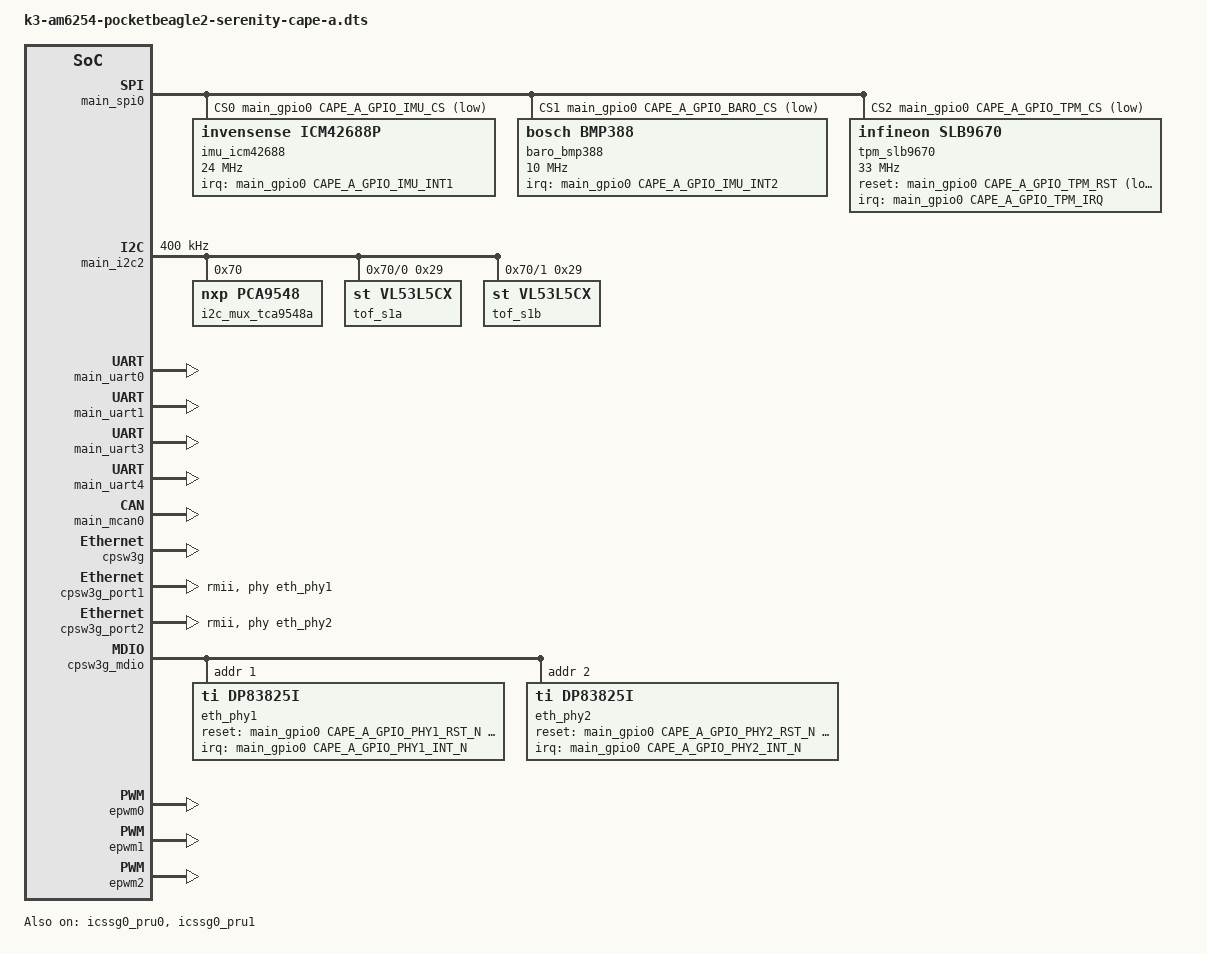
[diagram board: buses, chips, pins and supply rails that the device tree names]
// SPDX-License-Identifier: CC-BY-4.0
/*
 * k3-am6254-pocketbeagle2-serenity-cape-a.dts
 * Device tree overlay — Serenity UAV Cape-A (Sensor & Flight Control)
 *
 * Author:  Steve Griffing, PE(CSE), CISSP-ISSEP, CPP
 * License: CC BY 4.0 — creativecommons.org/licenses/by/4.0
 *
 * Target:
 *   Board  : PocketBeagle 2 Industrial (DigiKey 2820-100003007-ND)
 *   SoC    : TI AM6254 (quad Cortex-A53 @ 1.4 GHz, dual PRU-ICSS)
 *   OS     : BeagleBone Debian Trixie (Linux ≥ 6.1, dtc 1.7.x)
 *   Cape   : Cape-A — sensors + flight control, plugs onto P1/P2 headers
 *
 * Build:
 *   dtc -@ -I dts -O dtb \
 *       -o k3-am6254-pocketbeagle2-serenity-cape-a.dtbo \
 *       k3-am6254-pocketbeagle2-serenity-cape-a.dts
 *
 * Install:
 *   sudo cp *.dtbo /boot/firmware/overlays/
 *   Add "fdtoverlays /overlays/k3-am6254-pocketbeagle2-serenity-cape-a.dtbo"
 *   to /boot/firmware/extlinux/extlinux.conf
 *
 * ═══════════════════════════════════════════════════════════════════════════
 * PAD OFFSET VERIFICATION NOTICE
 * ═══════════════════════════════════════════════════════════════════════════
 * AM62X_IOPAD offsets must be cross-checked against BOTH:
 *   (1) TI AM6254 Technical Reference Manual, SPRUJ40, Table 7-1
 *       "MAIN Domain Pad Control Registers"
 *   (2) PocketBeagle 2 Industrial schematic — BeagleBoard.org hardware repo
 *       (maps AM6254 balls to P1/P2 header pins)
 * Offsets tagged [CONFIRMED] are from k3-am625-sk.dtsi, Linux 6.x kernel.
 * Offsets tagged [ESTIMATE] follow the AM62x pad-table pattern and must be
 * verified before committing to PCB fab or first-flight operations.
 * GPIO line numbers (main_gpio0 / main_gpio1) are logical and must be
 * verified against the PocketBeagle 2 expansion header pin map.
 * ═══════════════════════════════════════════════════════════════════════════
 *
 * Cape-A peripheral map:
 *   SPI0      — ICM-42688-P IMU, BMP388 barometer, SLB9670 TPM 2.0
 *   I2C2      — TCA9548A 8-ch mux → 2× VL53L5CX ToF (array A), MS4525DO
 *   UART0     — Debug console (JST-GH 4-pin)
 *   UART1     — ESC UART telemetry input (BLHeli32/Hobbywing)
 *   UART3     — u-blox M10Q GNSS (38400 baud default)
 *   UART4     — RS-485 half-duplex via MAX3485E (DE/RE# GPIOs)
 *   MCAN0     — CAN FD 1/8 Mbps via ATA6561 transceiver (STB# GPIO)
 *   CPSW3G    — 100BASE-TX ring via 2× DP83825I RMII PHY
 *   EHRPWM0-5 — Servo/ESC PWM (6 channels hardware, 50/400 Hz)
 *   PRU-ICSS0/PRU0 — MIL-STD-1553B Manchester II codec (1 Mbps)
 *   PRU-ICSS0/PRU1 — Extended servo PWM channels 6-7 (deterministic)
 */

/dts-v1/;
/plugin/;

#include <dt-bindings/gpio/gpio.h>
#include <dt-bindings/interrupt-controller/irq.h>
#include <dt-bindings/pinctrl/k3.h>
#include <dt-bindings/net/ti-dp83867.h>

/* ───────────────────────────────────────────────────────────────────────────
 * GPIO line assignments on main_gpio0 — VERIFY AGAINST PB2 SCHEMATIC
 * Line numbers correspond to AM6254 GPIO bank 0 pins exposed on P1/P2.
 * ─────────────────────────────────────────────────────────────────────────*/
#define CAPE_A_GPIO_IMU_INT1        14  /* ICM-42688-P interrupt 1      [ESTIMATE] */
#define CAPE_A_GPIO_IMU_INT2        15  /* ICM-42688-P interrupt 2      [ESTIMATE] */
#define CAPE_A_GPIO_IMU_CS          16  /* SPI0 CS — ICM-42688-P        [ESTIMATE] */
#define CAPE_A_GPIO_BARO_CS         17  /* SPI0 CS — BMP388             [ESTIMATE] */
#define CAPE_A_GPIO_TPM_CS          18  /* SPI0 CS — SLB9670 TPM        [ESTIMATE] */
#define CAPE_A_GPIO_TPM_IRQ         19  /* SLB9670 IRQ (active-low)     [ESTIMATE] */
#define CAPE_A_GPIO_TPM_RST         20  /* SLB9670 reset (active-low)   [ESTIMATE] */
#define CAPE_A_GPIO_GPS_RST         21  /* u-blox M10Q RESETN           [ESTIMATE] */
#define CAPE_A_GPIO_GPS_TIMEPULSE   22  /* u-blox M10Q TIMEPULSE        [ESTIMATE] */
#define CAPE_A_GPIO_RS485_DE        23  /* MAX3485E driver enable        [ESTIMATE] */
#define CAPE_A_GPIO_RS485_RE_N      24  /* MAX3485E receiver enable#     [ESTIMATE] */
#define CAPE_A_GPIO_CAN_STB_N       25  /* ATA6561 standby (active-low) [ESTIMATE] */
#define CAPE_A_GPIO_PHY1_RST_N      26  /* DP83825I #1 reset            [ESTIMATE] */
#define CAPE_A_GPIO_PHY1_INT_N      27  /* DP83825I #1 interrupt        [ESTIMATE] */
#define CAPE_A_GPIO_PHY2_RST_N      28  /* DP83825I #2 reset            [ESTIMATE] */
#define CAPE_A_GPIO_PHY2_INT_N      29  /* DP83825I #2 interrupt        [ESTIMATE] */
#define CAPE_A_GPIO_1553_OE1_N      30  /* DS26LV31 output enable 1#    [ESTIMATE] */
#define CAPE_A_GPIO_1553_OE2_N      31  /* DS26LV31 output enable 2#    [ESTIMATE] */

/* ───────────────────────────────────────────────────────────────────────────
 * Section 1 — Pin control configurations
 * ─────────────────────────────────────────────────────────────────────────*/
&main_pmx0 {

    /* SPI0: ICM-42688-P IMU + BMP388 barometer + SLB9670 TPM.
     * Chip selects are GPIO-controlled (cs-gpios on the SPI node) so only
     * the 4-wire bus pins appear here.                                    */
    cape_a_spi0_pins: cape-a-spi0-pins {
        pinctrl-single,pins = <
            /* [CONFIRMED — k3-am625-sk.dtsi] */
            AM62X_IOPAD(0x01bc, PIN_INPUT,  0) /* (A13) SPI0_CLK              */
            AM62X_IOPAD(0x01c0, PIN_OUTPUT, 0) /* (B13) SPI0_D0   (MOSI)      */
            AM62X_IOPAD(0x01c4, PIN_INPUT,  0) /* (B12) SPI0_D1   (MISO)      */
        >;
    };

    /* I2C2: TCA9548A mux + downstream VL53L5CX ToF + MS4525DO airspeed.  */
    cape_a_i2c2_pins: cape-a-i2c2-pins {
        pinctrl-single,pins = <
            /* [ESTIMATE — GPMC0_CSn2/CSn3 pads in mux1] */
            AM62X_IOPAD(0x00b0, PIN_INPUT_PULLUP, 1) /* (K22) I2C2_SCL          */
            AM62X_IOPAD(0x00b4, PIN_INPUT_PULLUP, 1) /* (K24) I2C2_SDA          */
        >;
    };

    /* UART0: debug console.                                               */
    cape_a_uart0_pins: cape-a-uart0-pins {
        pinctrl-single,pins = <
            /* [CONFIRMED — k3-am625-sk.dtsi, SPI0_CS0/CS1 pads mux1]    */
            AM62X_IOPAD(0x01c8, PIN_INPUT,  1) /* (D14) UART0_RXD             */
            AM62X_IOPAD(0x01cc, PIN_OUTPUT, 1) /* (E14) UART0_TXD             */
        >;
    };

    /* UART1: ESC UART telemetry (BLHeli32 / Hobbywing one-wire or 2-wire).*/
    cape_a_uart1_pins: cape-a-uart1-pins {
        pinctrl-single,pins = <
            /* [CONFIRMED — MCASP0_AFSR/ACLKR pads mux2]                  */
            AM62X_IOPAD(0x01ac, PIN_INPUT,  2) /* (E19) UART1_RXD             */
            AM62X_IOPAD(0x01b0, PIN_OUTPUT, 2) /* (A20) UART1_TXD             */
        >;
    };

    /* UART3: u-blox M10Q GNSS, 38400 baud default (upgradeable to 460800).*/
    cape_a_uart3_pins: cape-a-uart3-pins {
        pinctrl-single,pins = <
            /* [ESTIMATE — GPMC0_AD area, mux4] */
            AM62X_IOPAD(0x0048, PIN_INPUT,  4) /* UART3_RXD                   */
            AM62X_IOPAD(0x004c, PIN_OUTPUT, 4) /* UART3_TXD                   */
        >;
    };

    /* UART4: RS-485 (MAX3485E). Direction controlled by DE/RE# GPIOs.    */
    cape_a_uart4_pins: cape-a-uart4-pins {
        pinctrl-single,pins = <
            /* [ESTIMATE — GPMC0_AD area, mux4] */
            AM62X_IOPAD(0x0058, PIN_INPUT,  4) /* UART4_RXD                   */
            AM62X_IOPAD(0x005c, PIN_OUTPUT, 4) /* UART4_TXD                   */
        >;
    };

    /* MCAN0: CAN FD via ATA6561 transceiver.                             */
    cape_a_mcan0_pins: cape-a-mcan0-pins {
        pinctrl-single,pins = <
            /* [CONFIRMED — k3-am625-sk.dtsi] */
            AM62X_IOPAD(0x01d8, PIN_OUTPUT, 0) /* (C15) MCAN0_TX              */
            AM62X_IOPAD(0x01dc, PIN_INPUT,  0) /* (E15) MCAN0_RX              */
        >;
    };

    /* CPSW3G MDIO: shared MDC/MDIO bus for both DP83825I PHYs.          */
    cape_a_mdio_pins: cape-a-mdio-pins {
        pinctrl-single,pins = <
            /* [ESTIMATE — dedicated MDIO pad area] */
            AM62X_IOPAD(0x0160, PIN_OUTPUT,       0) /* MDC                    */
            AM62X_IOPAD(0x0164, PIN_INPUT_PULLUP, 0) /* MDIO                   */
        >;
    };

    /* CPSW3G Port 1 — RMII (DP83825I #1, uplink/port-side ring segment). */
    cape_a_rmii1_pins: cape-a-rmii1-pins {
        pinctrl-single,pins = <
            /* [ESTIMATE — RGMII1 pad area in RMII mux] */
            AM62X_IOPAD(0x0120, PIN_INPUT,  4) /* RMII1_RXD0                  */
            AM62X_IOPAD(0x0124, PIN_INPUT,  4) /* RMII1_RXD1                  */
            AM62X_IOPAD(0x0128, PIN_INPUT,  4) /* RMII1_RX_ER                 */
            AM62X_IOPAD(0x012c, PIN_INPUT,  4) /* RMII1_CRS_DV                */
            AM62X_IOPAD(0x0130, PIN_OUTPUT, 4) /* RMII1_TXD0                  */
            AM62X_IOPAD(0x0134, PIN_OUTPUT, 4) /* RMII1_TXD1                  */
            AM62X_IOPAD(0x0138, PIN_OUTPUT, 4) /* RMII1_TX_EN                 */
            AM62X_IOPAD(0x013c, PIN_INPUT,  4) /* RMII1_REF_CLK (50 MHz in)   */
        >;
    };

    /* CPSW3G Port 2 — RMII (DP83825I #2, starboard ring segment).       */
    cape_a_rmii2_pins: cape-a-rmii2-pins {
        pinctrl-single,pins = <
            /* [ESTIMATE — RGMII2 pad area in RMII mux] */
            AM62X_IOPAD(0x0148, PIN_INPUT,  4) /* RMII2_RXD0                  */
            AM62X_IOPAD(0x014c, PIN_INPUT,  4) /* RMII2_RXD1                  */
            AM62X_IOPAD(0x0150, PIN_INPUT,  4) /* RMII2_RX_ER                 */
            AM62X_IOPAD(0x0154, PIN_INPUT,  4) /* RMII2_CRS_DV                */
            AM62X_IOPAD(0x0158, PIN_OUTPUT, 4) /* RMII2_TXD0                  */
            AM62X_IOPAD(0x015c, PIN_OUTPUT, 4) /* RMII2_TXD1                  */
            AM62X_IOPAD(0x0168, PIN_OUTPUT, 4) /* RMII2_TX_EN                 */
            AM62X_IOPAD(0x016c, PIN_INPUT,  4) /* RMII2_REF_CLK               */
        >;
    };

    /* EHRPWM0-A / EHRPWM1-A: servo/ESC channels 0 and 1.                */
    cape_a_ehrpwm0_pins: cape-a-ehrpwm0-pins {
        pinctrl-single,pins = <
            /* [ESTIMATE] */
            AM62X_IOPAD(0x01a0, PIN_OUTPUT, 6) /* EHRPWM0_A (SERVO0)          */
            AM62X_IOPAD(0x01a4, PIN_OUTPUT, 6) /* EHRPWM0_B (SERVO1)          */
        >;
    };

    cape_a_ehrpwm1_pins: cape-a-ehrpwm1-pins {
        pinctrl-single,pins = <
            /* [ESTIMATE] */
            AM62X_IOPAD(0x01a8, PIN_OUTPUT, 6) /* EHRPWM1_A (SERVO2)          */
            AM62X_IOPAD(0x01b8, PIN_OUTPUT, 6) /* EHRPWM1_B (SERVO3)          */
        >;
    };

    cape_a_ehrpwm2_pins: cape-a-ehrpwm2-pins {
        pinctrl-single,pins = <
            /* [ESTIMATE] */
            AM62X_IOPAD(0x01b4, PIN_OUTPUT, 6) /* EHRPWM2_A (SERVO4)          */
            AM62X_IOPAD(0x01b8, PIN_OUTPUT, 6) /* EHRPWM2_B (SERVO5)          */
        >;
    };

    /* PRU-ICSS0 MIL-STD-1553 GPIO pins.
     * PRU0 drives DS26LV31 TX inputs (differential pair) and reads
     * DS26LV32 RX outputs (differential pair).
     * PRG0_PRU0_GPIOxx line numbers must match the PRU firmware.         */
    cape_a_pru0_1553_pins: cape-a-pru0-1553-pins {
        pinctrl-single,pins = <
            /* [ESTIMATE — PRG0 GPIO pad area] */
            AM62X_IOPAD(0x00d0, PIN_OUTPUT, 5) /* PRG0_PRU0_GPO0 → 1553_TX_P  */
            AM62X_IOPAD(0x00d4, PIN_OUTPUT, 5) /* PRG0_PRU0_GPO1 → 1553_TX_N  */
            AM62X_IOPAD(0x00d8, PIN_INPUT,  5) /* PRG0_PRU0_GPI2 ← 1553_RX_P  */
            AM62X_IOPAD(0x00dc, PIN_INPUT,  5) /* PRG0_PRU0_GPI3 ← 1553_RX_N  */
        >;
    };

    /* PRU-ICSS0 PRU1 extra servo PWM pins (channels 6-7).               */
    cape_a_pru1_pwm_pins: cape-a-pru1-pwm-pins {
        pinctrl-single,pins = <
            /* [ESTIMATE] */
            AM62X_IOPAD(0x00e0, PIN_OUTPUT, 5) /* PRG0_PRU1_GPO0 → SERVO6     */
            AM62X_IOPAD(0x00e4, PIN_OUTPUT, 5) /* PRG0_PRU1_GPO1 → SERVO7     */
        >;
    };
};

/* ───────────────────────────────────────────────────────────────────────────
 * Section 2 — SPI0: IMU, barometer, TPM 2.0
 * CS lines are GPIO because the AM6254 SPI0 hardware CS count may be
 * insufficient for 3 devices; this also allows individual power sequencing.
 * ─────────────────────────────────────────────────────────────────────────*/
&main_spi0 {
    status = "okay";
    pinctrl-names = "default";
    pinctrl-0 = <&cape_a_spi0_pins>;
    /* Three GPIO chip-selects; SPI controller CS pin is not used.        */
    cs-gpios = <&main_gpio0 CAPE_A_GPIO_IMU_CS  GPIO_ACTIVE_LOW>,
               <&main_gpio0 CAPE_A_GPIO_BARO_CS GPIO_ACTIVE_LOW>,
               <&main_gpio0 CAPE_A_GPIO_TPM_CS  GPIO_ACTIVE_LOW>;
    #address-cells = <1>;
    #size-cells = <0>;

    /* ICM-42688-P 6-axis IMU — InvenSense, SPI mode 0 or 3, 24 MHz max. */
    imu_icm42688: imu@0 {
        compatible = "invensense,icm42688p";
        reg = <0>;                           /* CS index 0 (IMU_CS GPIO)   */
        spi-max-frequency = <24000000>;
        spi-cpol;                            /* CPOL=1 CPHA=1 (SPI mode 3) */
        spi-cpha;
        interrupt-parent = <&main_gpio0>;
        interrupts = <CAPE_A_GPIO_IMU_INT1 IRQ_TYPE_EDGE_RISING>;
        /*
         * Mount rotation: board coordinate frame → NED body frame.
         * Fill in after physical inspection of IMU orientation on Cape-A.
         * Reference: InvenSense ICM-42688-P datasheet, rev 1.7.
         */
        mount-matrix = "1", "0", "0",
                        "0", "1", "0",
                        "0", "0", "1";
    };

    /* BMP388 barometric pressure + temperature — Bosch, SPI mode 0.      */
    baro_bmp388: barometer@1 {
        compatible = "bosch,bmp388";
        reg = <1>;                           /* CS index 1 (BARO_CS GPIO)  */
        spi-max-frequency = <10000000>;
        interrupt-parent = <&main_gpio0>;
        interrupts = <CAPE_A_GPIO_IMU_INT2 IRQ_TYPE_EDGE_RISING>;
        /* Data-ready interrupt wired to same GPIO bank as IMU INT2 —
         * re-assign if conflict during layout.                           */
    };

    /* SLB9670 TPM 2.0 — Infineon, SPI mode 0, 33 MHz max.               */
    tpm_slb9670: tpm@2 {
        compatible = "infineon,slb9670";
        reg = <2>;                           /* CS index 2 (TPM_CS GPIO)   */
        spi-max-frequency = <33000000>;
        interrupt-parent = <&main_gpio0>;
        interrupts = <CAPE_A_GPIO_TPM_IRQ IRQ_TYPE_LEVEL_LOW>;
        reset-gpios = <&main_gpio0 CAPE_A_GPIO_TPM_RST GPIO_ACTIVE_LOW>;
    };
};

/* ───────────────────────────────────────────────────────────────────────────
 * Section 3 — I2C2: TCA9548A mux → VL53L5CX ToF sensors, MS4525DO airspeed
 * ─────────────────────────────────────────────────────────────────────────*/
&main_i2c2 {
    status = "okay";
    pinctrl-names = "default";
    pinctrl-0 = <&cape_a_i2c2_pins>;
    clock-frequency = <400000>;              /* Fast mode 400 kHz          */
    #address-cells = <1>;
    #size-cells = <0>;

    /* TCA9548A 8-channel I2C multiplexer — NXP/TI, address 0x70.
     * All VL53L5CX sensors share address 0x29; the mux isolates them.   */
    i2c_mux_tca9548a: i2c-mux@70 {
        compatible = "nxp,pca9548";
        reg = <0x70>;
        #address-cells = <1>;
        #size-cells = <0>;
        /* reset-gpios not wired on Cape-A rev N; add if rev O adds RST. */

        /* Channel 0: Array A sensor 1 (S1A — forward, FC3 primary).    */
        i2c_tof_ch0: i2c@0 {
            #address-cells = <1>;
            #size-cells = <0>;
            reg = <0>;

            tof_s1a: tof@29 {
                compatible = "st,vl53l5cx";
                reg = <0x29>;
                /*
                 * VL53L5CX does not expose a kernel interrupt line in
                 * the mainline driver; polling is used in firmware.
                 * Future: wire INT pin through mux GPIO expander.
                 */
            };
        };

        /* Channel 1: Array B sensor 1 (S1B — aft, FC2 primary).        */
        i2c_tof_ch1: i2c@1 {
            #address-cells = <1>;
            #size-cells = <0>;
            reg = <1>;

            tof_s1b: tof@29 {
                compatible = "st,vl53l5cx";
                reg = <0x29>;
            };
        };

        /* Channel 2: MS4525DO differential airspeed (FC1 only; optional).*/
        i2c_airspeed_ch2: i2c@2 {
            #address-cells = <1>;
            #size-cells = <0>;
            reg = <2>;

            airspeed_ms4525: airspeed@28 {
                compatible = "ms4525do";         /* VERIFY driver name    */
                reg = <0x28>;
                /* Populated on FC1 only; leave absent on FC2-FC4 builds. */
                status = "disabled";
            };
        };

        /* Channels 3-7: reserved for future sensors.                    */
    };
};

/* ───────────────────────────────────────────────────────────────────────────
 * Section 4 — UARTs
 * ─────────────────────────────────────────────────────────────────────────*/

/* UART0: debug console (115200 8N1).                                      */
&main_uart0 {
    status = "okay";
    pinctrl-names = "default";
    pinctrl-0 = <&cape_a_uart0_pins>;
};

/* UART1: ESC UART telemetry, 115200 baud (BLHeli32 digital protocol).
 * The AM6254 eCAP peripheral captures the BDSHOT600 telemetry frame;
 * this UART is used as a fallback for analogue telemetry only.           */
&main_uart1 {
    status = "okay";
    pinctrl-names = "default";
    pinctrl-0 = <&cape_a_uart1_pins>;
};

/* UART3: u-blox M10Q GNSS.  userspace (gpsd) owns this port.
 * TIMEPULSE and RESETN are managed by the serenity-fc daemon via GPIO.  */
&main_uart3 {
    status = "okay";
    pinctrl-names = "default";
    pinctrl-0 = <&cape_a_uart3_pins>;
};

/* UART4: RS-485 half-duplex via MAX3485E.
 * Direction is toggled in software via DE and RE# GPIOs before each
 * transmit/receive transition.  The serenity-fc daemon uses termios
 * RS485 mode (TIOCSRS485) if the kernel driver supports it; otherwise
 * explicit GPIO toggle with ≥1 µs guard time.                           */
&main_uart4 {
    status = "okay";
    pinctrl-names = "default";
    pinctrl-0 = <&cape_a_uart4_pins>;
    linux,rs485-enabled-at-boot-time;
    rs485-rts-active-high;                   /* DE asserted high = TX     */
    rs485-rx-during-tx;                      /* duplex: echo suppressed   */
};

/* ───────────────────────────────────────────────────────────────────────────
 * Section 5 — CAN FD (MCAN0 + ATA6561 transceiver)
 * ─────────────────────────────────────────────────────────────────────────*/
&main_mcan0 {
    status = "okay";
    pinctrl-names = "default";
    pinctrl-0 = <&cape_a_mcan0_pins>;
    /* ATA6561 STB# driven low (active) at boot by the FC daemon.
     * Normal mode = STB# = low.  Standby mode = STB# = high.
     * Not modelled in DT; managed via /sys/class/gpio in serenity-fc.   */

    can-transceiver {
        max-bitrate = <8000000>;             /* 8 Mbps FD data rate max   */
    };
};

/* ───────────────────────────────────────────────────────────────────────────
 * Section 6 — Ethernet: CPSW3G + 2× DP83825I RMII PHY
 * Both PHYs share the MDIO bus; CPSW3G ports 1 and 2 are used.
 * The 8-node RSTP ring is: CN1→FC1→CN2→FC2→CN3→FC3→CN4→FC4→(back to CN1).
 * Each FC node connects its two PHYs to adjacent ring segments.
 * ─────────────────────────────────────────────────────────────────────────*/
&cpsw3g {
    status = "okay";
};

&cpsw3g_port1 {
    status = "okay";
    pinctrl-names = "default";
    pinctrl-0 = <&cape_a_rmii1_pins>;
    phy-handle = <&eth_phy1>;
    phy-mode = "rmii";
    ti,mac-only;
    /* 50 MHz reference clock from DP83825I #1 REF_CLK output.           */
};

&cpsw3g_port2 {
    status = "okay";
    pinctrl-names = "default";
    pinctrl-0 = <&cape_a_rmii2_pins>;
    phy-handle = <&eth_phy2>;
    phy-mode = "rmii";
    ti,mac-only;
};

&cpsw3g_mdio {
    status = "okay";
    pinctrl-names = "default";
    pinctrl-0 = <&cape_a_mdio_pins>;
    clock-frequency = <1000000>;             /* MDIO clock 1 MHz          */
    #address-cells = <1>;
    #size-cells = <0>;

    /* DP83825I RMII PHY #1 — TI, MDIO address 0 (PHYAD0=1 → addr 1).
     * VERIFY strap resistors on Cape-A schematic for PHYAD[1:0].        */
    eth_phy1: ethernet-phy@1 {
        compatible = "ti,dp83825i", "ethernet-phy-ieee802.3-c22";
        reg = <1>;
        reset-gpios = <&main_gpio0 CAPE_A_GPIO_PHY1_RST_N GPIO_ACTIVE_LOW>;
        reset-assert-us   = <25>;            /* datasheet: t_reset_assert  */
        reset-deassert-us = <2000>;          /* datasheet: t_reset_deassert*/
        interrupt-parent = <&main_gpio0>;
        interrupts = <CAPE_A_GPIO_PHY1_INT_N IRQ_TYPE_EDGE_FALLING>;
        /* DP83825I strap: LEDs configured for link/activity on rev A.    */
    };

    /* DP83825I RMII PHY #2 — MDIO address 1 (PHYAD0=0 → addr 2).        */
    eth_phy2: ethernet-phy@2 {
        compatible = "ti,dp83825i", "ethernet-phy-ieee802.3-c22";
        reg = <2>;
        reset-gpios = <&main_gpio0 CAPE_A_GPIO_PHY2_RST_N GPIO_ACTIVE_LOW>;
        reset-assert-us   = <25>;
        reset-deassert-us = <2000>;
        interrupt-parent = <&main_gpio0>;
        interrupts = <CAPE_A_GPIO_PHY2_INT_N IRQ_TYPE_EDGE_FALLING>;
    };
};

/* ───────────────────────────────────────────────────────────────────────────
 * Section 7 — EHRPWM: servo and ESC PWM channels 0-5
 * EHRPWM0-2 each provide an A and B output → 6 channels total.
 * Channels 6-7 are produced by PRU1 (see Section 8).
 * All outputs: 1 µs resolution at 125 MHz SYSCLK / prescaler.
 * ─────────────────────────────────────────────────────────────────────────*/
&epwm0 {
    status = "okay";
    pinctrl-names = "default";
    pinctrl-0 = <&cape_a_ehrpwm0_pins>;
};

&epwm1 {
    status = "okay";
    pinctrl-names = "default";
    pinctrl-0 = <&cape_a_ehrpwm1_pins>;
};

&epwm2 {
    status = "okay";
    pinctrl-names = "default";
    pinctrl-0 = <&cape_a_ehrpwm2_pins>;
};

/* ───────────────────────────────────────────────────────────────────────────
 * Section 8 — PRU-ICSS0: MIL-STD-1553B (PRU0) and extended PWM (PRU1)
 *
 * PRU0 firmware: serenity-pru0-1553.out
 *   Manchester II encoder/decoder at 1 Mbps ± 0.5%.
 *   BC (bus controller) capability on FC1 (elected via CAN FD heartbeat);
 *   all other FC nodes run as RT (remote terminal).
 *   DS26LV31 TX: driven by PRG0_PRU0_GPO0 (TX_P) and GPO1 (TX_N).
 *   DS26LV32 RX: read from PRG0_PRU0_GPI2 (RX_P) and GPI3 (RX_N).
 *   DS26LV31 OE#: controlled via main_gpio0 lines CAPE_A_GPIO_1553_OE1_N
 *                 and CAPE_A_GPIO_1553_OE2_N.
 *   Coupling transformer: PE-68515, 1:1.41, 78 Ω stub resistors.
 *
 * PRU1 firmware: serenity-pru1-pwm.out
 *   Generates SERVO6 and SERVO7 PWM with 1 µs resolution.
 *   DSHOT1200 output capability for future DSHOT ESC support.
 *
 * Firmware binaries are installed to /lib/firmware/serenity/ on the target.
 * ─────────────────────────────────────────────────────────────────────────*/
&icssg0_pru0 {
    status = "okay";
    pinctrl-names = "default";
    pinctrl-0 = <&cape_a_pru0_1553_pins>;
    firmware-name = "serenity/pru0-mil1553.out";
};

&icssg0_pru1 {
    status = "okay";
    pinctrl-names = "default";
    pinctrl-0 = <&cape_a_pru1_pwm_pins>;
    firmware-name = "serenity/pru1-servo-pwm.out";
};
